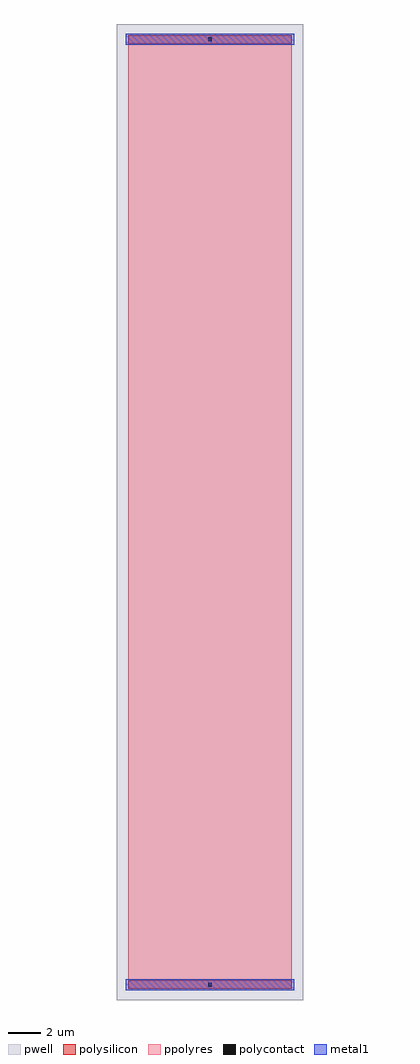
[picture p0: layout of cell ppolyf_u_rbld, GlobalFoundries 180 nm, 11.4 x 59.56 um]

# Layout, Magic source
magic
tech gf180mcuD
magscale 1 10
<< ppolyres >>
rect -1000 -5714 1000 5714
<< polysilicon >>
rect -1000 5714 1000 5816
rect -1000 -5816 1000 -5714
<< polycontact >>
rect -22 5746 22 5792
rect -22 -5792 22 -5746
<< metal1 >>
rect -1030 5704 1030 5834
rect -1030 -5834 1030 -5704
<< pwell >>
rect -1140 -5956 1140 5956
<< properties >>
<< end >>
